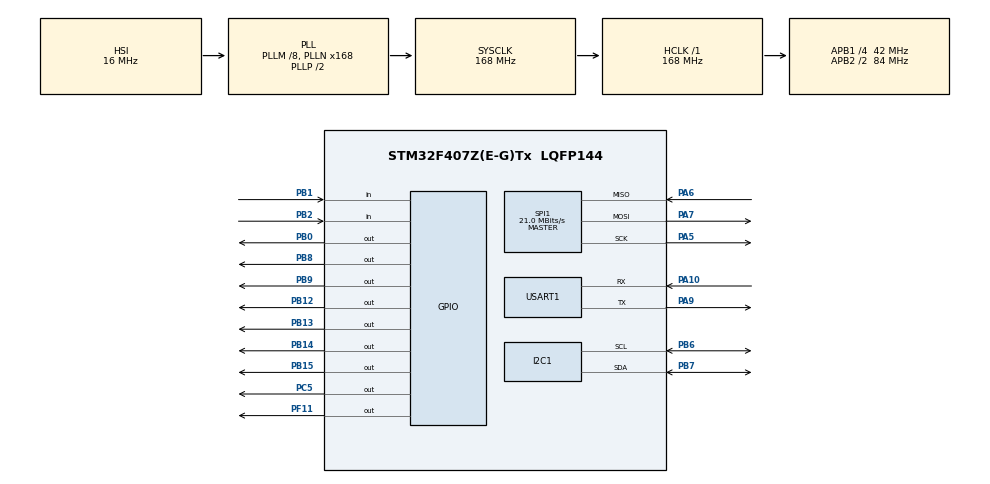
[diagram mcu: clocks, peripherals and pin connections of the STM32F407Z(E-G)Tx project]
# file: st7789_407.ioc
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Dma.Request0=SPI1_TX
Dma.SPI1_TX.0.Direction=DMA_MEMORY_TO_PERIPH
Dma.SPI1_TX.0.FIFOMode=DMA_FIFOMODE_DISABLE
Dma.SPI1_TX.0.Instance=DMA2_Stream3
Dma.SPI1_TX.0.MemDataAlignment=DMA_MDATAALIGN_BYTE
Dma.SPI1_TX.0.MemInc=DMA_MINC_ENABLE
Dma.SPI1_TX.0.Mode=DMA_NORMAL
Dma.SPI1_TX.0.PeriphDataAlignment=DMA_PDATAALIGN_BYTE
Dma.SPI1_TX.0.PeriphInc=DMA_PINC_DISABLE
Dma.SPI1_TX.0.Priority=DMA_PRIORITY_LOW
Mcu.Family=STM32F4
Mcu.Name=STM32F407Z(E-G)Tx
Mcu.Package=LQFP144
NVIC.DMA2_Stream3_IRQn=true\:0\:0\:false\:false\:true\:false\:true\:true
NVIC.PriorityGroup=NVIC_PRIORITYGROUP_4
NVIC.TIM6_DAC_IRQn=true\:0\:0\:false\:false\:true\:true\:true\:true
PA10.Mode=Asynchronous
PA10.Signal=USART1_RX
PA13.Mode=Serial_Wire
PA13.Signal=SYS_JTMS-SWDIO
PA14.Mode=Serial_Wire
PA14.Signal=SYS_JTCK-SWCLK
PA5.Mode=Full_Duplex_Master
PA5.Signal=SPI1_SCK
PA6.Mode=Full_Duplex_Master
PA6.Signal=SPI1_MISO
PA7.Mode=Full_Duplex_Master
PA7.Signal=SPI1_MOSI
PA9.Mode=Asynchronous
PA9.Signal=USART1_TX
PB0.GPIO_PuPd=GPIO_NOPULL
PB0.GPIO_Speed=GPIO_SPEED_FREQ_HIGH
PB0.PinState=GPIO_PIN_SET
PB0.Signal=GPIO_Output
PB1.GPIO_PuPd=GPIO_PULLUP
PB1.Signal=GPIO_Input
PB12.GPIO_PuPd=GPIO_PULLUP
PB12.GPIO_Speed=GPIO_SPEED_FREQ_MEDIUM
PB12.PinState=GPIO_PIN_SET
PB12.Signal=GPIO_Output
PB13.GPIO_ModeDefaultOutputPP=GPIO_MODE_OUTPUT_PP
PB13.GPIO_PuPd=GPIO_PULLUP
PB13.GPIO_Speed=GPIO_SPEED_FREQ_MEDIUM
PB13.PinState=GPIO_PIN_SET
PB13.Signal=GPIO_Output
PB14.GPIO_ModeDefaultOutputPP=GPIO_MODE_OUTPUT_PP
PB14.GPIO_PuPd=GPIO_PULLUP
PB14.GPIO_Speed=GPIO_SPEED_FREQ_MEDIUM
PB14.PinState=GPIO_PIN_SET
PB14.Signal=GPIO_Output
PB15.GPIO_ModeDefaultOutputPP=GPIO_MODE_OUTPUT_PP
PB15.GPIO_PuPd=GPIO_PULLUP
PB15.GPIO_Speed=GPIO_SPEED_FREQ_MEDIUM
PB15.PinState=GPIO_PIN_SET
PB15.Signal=GPIO_Output
PB2.GPIO_PuPd=GPIO_PULLUP
PB2.Signal=GPIO_Input
PB6.Mode=I2C
PB6.Signal=I2C1_SCL
PB7.Mode=I2C
PB7.Signal=I2C1_SDA
PB8.GPIO_PuPd=GPIO_PULLUP
PB8.GPIO_Speed=GPIO_SPEED_FREQ_HIGH
PB8.PinState=GPIO_PIN_SET
PB8.Signal=GPIO_Output
PB9.GPIO_PuPd=GPIO_PULLUP
PB9.GPIO_Speed=GPIO_SPEED_FREQ_HIGH
PB9.PinState=GPIO_PIN_SET
PB9.Signal=GPIO_Output
PC14-OSC32_IN.Mode=LSE-External-Oscillator
PC14-OSC32_IN.Signal=RCC_OSC32_IN
PC15-OSC32_OUT.Mode=LSE-External-Oscillator
PC15-OSC32_OUT.Signal=RCC_OSC32_OUT
PC5.GPIO_PuPd=GPIO_NOPULL
PC5.GPIO_Speed=GPIO_SPEED_FREQ_HIGH
PC5.PinState=GPIO_PIN_SET
PC5.Signal=GPIO_Output
PF11.GPIO_PuPd=GPIO_NOPULL
PF11.GPIO_Speed=GPIO_SPEED_FREQ_HIGH
PF11.PinState=GPIO_PIN_SET
PF11.Signal=GPIO_Output
PH0-OSC_IN.Mode=HSE-External-Oscillator
PH0-OSC_IN.Signal=RCC_OSC_IN
PH1-OSC_OUT.Mode=HSE-External-Oscillator
PH1-OSC_OUT.Signal=RCC_OSC_OUT
ProjectManager.HeapSize=0x8000
ProjectManager.StackSize=0x1000
ProjectManager.TargetToolchain=MDK-ARM V5.32
RCC.48MHZClocksFreq_Value=84000000
RCC.AHBFreq_Value=168000000
RCC.APB1CLKDivider=RCC_HCLK_DIV4
RCC.APB1Freq_Value=42000000
RCC.APB1TimFreq_Value=84000000
RCC.APB2CLKDivider=RCC_HCLK_DIV2
RCC.APB2Freq_Value=84000000
RCC.APB2TimFreq_Value=168000000
RCC.CortexFreq_Value=168000000
RCC.HCLKFreq_Value=168000000
RCC.HSE_VALUE=25000000
RCC.HSI_VALUE=16000000
RCC.PLLM=8
RCC.PLLN=168
RCC.SYSCLKFreq_VALUE=168000000
RCC.SYSCLKSource=RCC_SYSCLKSOURCE_PLLCLK
RCC.VCOOutputFreq_Value=336000000
SPI1.BaudRatePrescaler=SPI_BAUDRATEPRESCALER_4
SPI1.CalculateBaudRate=21.0 MBits/s
SPI1.Direction=SPI_DIRECTION_2LINES
SPI1.Mode=SPI_MODE_MASTER
SPI1.VirtualType=VM_MASTER
TIM1.Prescaler=168-1
TIM6.Period=1000-1
TIM6.Prescaler=168-1
USART1.VirtualMode=VM_ASYNC
VP_TIM1_VS_ClockSourceINT.Mode=Internal
VP_TIM6_VS_ClockSourceINT.Mode=Enable_Timer
board=custom

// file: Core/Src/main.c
/* USER CODE BEGIN Header */
/****************************************************************************************************
//								开发板:STM32F407ZGT6
//								屏幕驱动芯片：ILI9341
//=========================================电源接线================================================//
//     LCD模块                STM32F407ZGT6
//      VCC          接        DC5V/3.3V      //电源
//      GND          接          GND          //电源地
//=======================================液晶屏数据线接线==========================================//
//本模块默认数据总线类型为SPI总线
//     LCD模块                STM32单片机
//    SDI(MOSI)      接          PA7          //液晶屏SPI总线数据写信号
//    SDO(MISO)      接          PA6          //液晶屏SPI总线数据读信号，如果不需要读，可以不接线
//=======================================液晶屏控制线接线==========================================//
//       LED         接          PB13         //液晶屏背光控制信号，如果不需要控制，接5V或3.3V
//       SCK         接          PA5          //液晶屏SPI总线时钟信号
//       DC          接          PB14         //液晶屏数据/命令控制信号
//       RST         接          PB12         //液晶屏复位控制信号
//       CS          接          PB15         //液晶屏片选控制信号
//=========================================触摸屏触接线=========================================//
//      T_IRQ        接          PB1          //触摸屏触摸中断信号
//      T_DO         接          PB2          //触摸屏SPI总线读信号
//      T_DIN        接          PF11        //触摸屏SPI总线写信号
//      T_CS         接          PC5          //触摸屏片选控制信号
//      T_CLK        接          PB0          //触摸屏SPI总线时钟信号
**************************************************************************************************/

/**
  ******************************************************************************
  * @file           : main.c
  * @brief          : Main program body
  ******************************************************************************
  * @attention
  *
  * Copyright (c) 2025 STMicroelectronics.
  * All rights reserved.
  *
  * This software is licensed under terms that can be found in the LICENSE file
  * in the root directory of this software component.
  * If no LICENSE file comes with this software, it is provided AS-IS.
  *
  ******************************************************************************
  */
/* USER CODE END Header */
#include "main.h"
#include "dma.h"
#include "i2c.h"
#include "spi.h"
#include "tim.h"
#include "usart.h"
#include "gpio.h"

/* USER CODE BEGIN Includes */
#include "lvgl.h"
#include "lv_port_disp.h"
#include "lv_port_indev.h"
#include <stdio.h>
#include <stdlib.h>
#include "touch.h"
#include "ili9341.h"

#include "lv_demos.h"
#include "lv_demo_benchmark.h"
#include "lv_demo_widgets.h"

/* USER CODE END Includes */

/* USER CODE BEGIN PM */
static void lv_tick_handler(void)
{
    lv_tick_inc(1);
}
/* USER CODE END PM */

void SystemClock_Config(void);

int main(void)
{

  /* MCU Configuration--------------------------------------------------------*/

  /* Reset of all peripherals, Initializes the Flash interface and the Systick. */
  HAL_Init();

  /* Configure the system clock */
  SystemClock_Config();

  /* Initialize all configured peripherals */
	MX_GPIO_Init();
	MX_DMA_Init();
	MX_SPI1_Init();
	MX_USART1_UART_Init();
	MX_I2C1_Init();
	MX_TIM1_Init();
	MX_TIM6_Init();
  /* USER CODE BEGIN 2 */
	LCD_Init();
	TP_Init();
#if 1
	lv_init();
	lv_port_disp_init();
	lv_port_indev_init();

	HAL_TIM_Base_Start_IT(&htim6);
	lv_demo_widgets();
#endif

  /* USER CODE END 2 */

  /* Infinite loop */
  /* USER CODE BEGIN WHILE */
  while (1)
  {
	lv_timer_handler();
	HAL_Delay(1);       // 适当的延时
    /* USER CODE END WHILE */
  }
}

void SystemClock_Config(void)
{
  RCC_OscInitTypeDef RCC_OscInitStruct = {0};
  RCC_ClkInitTypeDef RCC_ClkInitStruct = {0};

  /** Configure the main internal regulator output voltage
  */
  __HAL_RCC_PWR_CLK_ENABLE();
  __HAL_PWR_VOLTAGESCALING_CONFIG(PWR_REGULATOR_VOLTAGE_SCALE1);

  /** Initializes the RCC Oscillators according to the specified parameters
  * in the RCC_OscInitTypeDef structure.
  */
  RCC_OscInitStruct.OscillatorType = RCC_OSCILLATORTYPE_HSI;
  RCC_OscInitStruct.HSIState = RCC_HSI_ON;
  RCC_OscInitStruct.HSICalibrationValue = RCC_HSICALIBRATION_DEFAULT;
  RCC_OscInitStruct.PLL.PLLState = RCC_PLL_ON;
  RCC_OscInitStruct.PLL.PLLSource = RCC_PLLSOURCE_HSI;
  RCC_OscInitStruct.PLL.PLLM = 8;
  RCC_OscInitStruct.PLL.PLLN = 168;
  RCC_OscInitStruct.PLL.PLLP = RCC_PLLP_DIV2;
  RCC_OscInitStruct.PLL.PLLQ = 4;
  if (HAL_RCC_OscConfig(&RCC_OscInitStruct) != HAL_OK)
  {
    Error_Handler();
  }

  /** Initializes the CPU, AHB and APB buses clocks
  */
  RCC_ClkInitStruct.ClockType = RCC_CLOCKTYPE_HCLK|RCC_CLOCKTYPE_SYSCLK
                              |RCC_CLOCKTYPE_PCLK1|RCC_CLOCKTYPE_PCLK2;
  RCC_ClkInitStruct.SYSCLKSource = RCC_SYSCLKSOURCE_PLLCLK;
  RCC_ClkInitStruct.AHBCLKDivider = RCC_SYSCLK_DIV1;
  RCC_ClkInitStruct.APB1CLKDivider = RCC_HCLK_DIV4;
  RCC_ClkInitStruct.APB2CLKDivider = RCC_HCLK_DIV2;

  if (HAL_RCC_ClockConfig(&RCC_ClkInitStruct, FLASH_LATENCY_5) != HAL_OK)
  {
    Error_Handler();
  }
}

/* USER CODE BEGIN 4 */
void HAL_TIM_PeriodElapsedCallback(TIM_HandleTypeDef *htim){
	if(htim->Instance == TIM6){
		lv_tick_inc(1);
	}
}
/* USER CODE END 4 */

void Error_Handler(void)
{
  __disable_irq();
  while (1)
  {
  }
}
